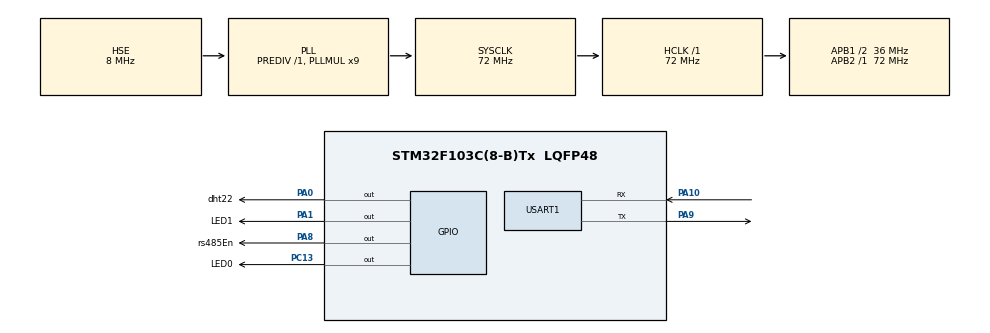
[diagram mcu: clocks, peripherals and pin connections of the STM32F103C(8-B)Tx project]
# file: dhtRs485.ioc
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Dma.Request0=USART1_RX
Dma.Request1=USART1_TX
Dma.USART1_RX.0.Direction=DMA_PERIPH_TO_MEMORY
Dma.USART1_RX.0.Instance=DMA1_Channel5
Dma.USART1_RX.0.MemDataAlignment=DMA_MDATAALIGN_BYTE
Dma.USART1_RX.0.MemInc=DMA_MINC_ENABLE
Dma.USART1_RX.0.Mode=DMA_CIRCULAR
Dma.USART1_RX.0.PeriphDataAlignment=DMA_PDATAALIGN_BYTE
Dma.USART1_RX.0.PeriphInc=DMA_PINC_DISABLE
Dma.USART1_RX.0.Priority=DMA_PRIORITY_HIGH
Dma.USART1_TX.1.Direction=DMA_MEMORY_TO_PERIPH
Dma.USART1_TX.1.Instance=DMA1_Channel4
Dma.USART1_TX.1.MemDataAlignment=DMA_MDATAALIGN_BYTE
Dma.USART1_TX.1.MemInc=DMA_MINC_ENABLE
Dma.USART1_TX.1.Mode=DMA_NORMAL
Dma.USART1_TX.1.PeriphDataAlignment=DMA_PDATAALIGN_BYTE
Dma.USART1_TX.1.PeriphInc=DMA_PINC_DISABLE
Dma.USART1_TX.1.Priority=DMA_PRIORITY_HIGH
IWDG.Prescaler=IWDG_PRESCALER_32
IWDG.Reload=2500
Mcu.Family=STM32F1
Mcu.Name=STM32F103C(8-B)Tx
Mcu.Package=LQFP48
NVIC.DMA1_Channel4_IRQn=true\:0\:0\:false\:false\:true\:false\:true\:true
NVIC.DMA1_Channel5_IRQn=true\:0\:0\:false\:false\:true\:false\:true\:true
NVIC.PriorityGroup=NVIC_PRIORITYGROUP_4
NVIC.TIM4_IRQn=true\:15\:0\:false\:false\:true\:false\:true\:true
NVIC.TimeBase=TIM4_IRQn
NVIC.TimeBaseIP=TIM4
NVIC.USART1_IRQn=true\:0\:0\:false\:false\:true\:true\:true\:true
PA0-WKUP.GPIO_Label=dht22
PA0-WKUP.Signal=GPIO_Output
PA1.GPIO_Label=LED1
PA1.GPIO_Speed=GPIO_SPEED_FREQ_HIGH
PA1.Signal=GPIO_Output
PA10.Mode=Asynchronous
PA10.Signal=USART1_RX
PA13.Mode=Serial_Wire
PA13.Signal=SYS_JTMS-SWDIO
PA14.Mode=Serial_Wire
PA14.Signal=SYS_JTCK-SWCLK
PA8.GPIO_Label=rs485En
PA8.GPIO_Speed=GPIO_SPEED_FREQ_HIGH
PA8.Signal=GPIO_Output
PA9.Mode=Asynchronous
PA9.Signal=USART1_TX
PC13-TAMPER-RTC.GPIO_Label=LED0
PC13-TAMPER-RTC.GPIO_Speed=GPIO_SPEED_FREQ_HIGH
PC13-TAMPER-RTC.Signal=GPIO_Output
PD0-OSC_IN.Mode=HSE-External-Oscillator
PD0-OSC_IN.Signal=RCC_OSC_IN
PD1-OSC_OUT.Mode=HSE-External-Oscillator
PD1-OSC_OUT.Signal=RCC_OSC_OUT
ProjectManager.HeapSize=0x500
ProjectManager.StackSize=0x500
ProjectManager.TargetToolchain=STM32CubeIDE
RCC.AHBFreq_Value=72000000
RCC.APB1CLKDivider=RCC_HCLK_DIV2
RCC.APB1Freq_Value=36000000
RCC.APB1TimFreq_Value=72000000
RCC.APB2Freq_Value=72000000
RCC.APB2TimFreq_Value=72000000
RCC.EnbaleCSS=true
RCC.HCLKFreq_Value=72000000
RCC.PLLMUL=RCC_PLL_MUL9
RCC.PLLSourceVirtual=RCC_PLLSOURCE_HSE
RCC.SYSCLKFreq_VALUE=72000000
RCC.SYSCLKSource=RCC_SYSCLKSOURCE_PLLCLK
RCC.USBFreq_Value=72000000
USART1.VirtualMode=VM_ASYNC
VP_IWDG_VS_IWDG.Mode=IWDG_Activate
VP_SYS_VS_tim4.Mode=TIM4
board=custom

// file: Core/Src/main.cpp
/* USER CODE BEGIN Header */
/**
  ******************************************************************************
  * @file           : main.c
  * @brief          : Main program body
  ******************************************************************************
  * @attention
  *
  * Copyright (c) 2026 STMicroelectronics.
  * All rights reserved.
  *
  * This software is licensed under terms that can be found in the LICENSE file
  * in the root directory of this software component.
  * If no LICENSE file comes with this software, it is provided AS-IS.
  *
  ******************************************************************************
  */
/* USER CODE END Header */
#include "main.h"

/* USER CODE BEGIN Includes */
#include <iostream>
#include "stm32f1xx_it.h"
#include "DHT22.hpp"
#include "jsonpacket.hpp"
/* USER CODE END Includes */

IWDG_HandleTypeDef hiwdg;

UART_HandleTypeDef huart1;
DMA_HandleTypeDef hdma_usart1_rx;
DMA_HandleTypeDef hdma_usart1_tx;

/* USER CODE BEGIN PV */
uint16_t lastPos = 0;
char uartBuffer[300];
uint32_t nextLedTime,readSensor;
HAL_StatusTypeDef uartErr;
DHT22 sensor(dht22_GPIO_Port,dht22_Pin);
Temp_Hum tempHum;
Packets packet;
extern volatile uint8_t rxLineBusy;
JsonDocument inputDoc;
JsonDocument outputDoc;
/* USER CODE END PV */

void SystemClock_Config(void);
static void MX_GPIO_Init(void);
static void MX_DMA_Init(void);
static void MX_IWDG_Init(void);
static void MX_USART1_UART_Init(void);
/* USER CODE BEGIN PFP */
void sendProcessControl(Packets *packet);
HAL_StatusTypeDef rs485OneSendData(uint8_t *_data, uint32_t _dataLen);
/* USER CODE END PFP */

/* USER CODE BEGIN 0 */
void HAL_UART_TxCpltCallback(UART_HandleTypeDef *huart)
{
	if(huart == &huart1)
	{
		while(__HAL_UART_GET_FLAG(&huart1, UART_FLAG_TC) == RESET);
		HAL_GPIO_WritePin(rs485En_GPIO_Port, rs485En_Pin, GPIO_PIN_RESET);
		packet.txPacketCompleted();
	}
}

void UartPacket_IdleCallback(UART_HandleTypeDef *huart)
{
	uint8_t *jsonBody = NULL,*payload = NULL;
	uint32_t jsonLen,payloadLen;
	packet.readRxPacket(huart, &jsonBody, &jsonLen, &payload, &payloadLen);
	HAL_GPIO_WritePin(LED1_GPIO_Port, LED1_Pin, GPIO_PIN_RESET);
	HAL_GPIO_TogglePin(LED0_GPIO_Port, LED0_Pin);

	if(jsonLen == 0)
	{
		return;
	}

	DeserializationError error = deserializeJson(inputDoc, jsonBody);

	if(!error)
	{
		if(inputDoc["type"].as<int>() == Request)
		{
			if(inputDoc["name"] != "MB")
			{
				return;
			}
			if(inputDoc["req"] == "Time")
			{
				outputDoc["type"] = Response;
				outputDoc["state"] = ok;
				outputDoc["name"] = "MB";
				outputDoc["Time"] = HAL_GetTick()/1000;
				packet.addTxPacket(Low, &outputDoc);
				return;
			}
			else if(inputDoc["req"] == "TH")
			{
				outputDoc["type"] = Response;
				outputDoc["state"] = ok;
				outputDoc["name"] = "MB";
				outputDoc["temp"] = tempHum.Temp;
				outputDoc["hum"] = tempHum.Hum;
				packet.addTxPacket(Medium, &outputDoc);
				return;
			}

			//uint8_t buffer[200];
			//uint16_t len = serializeJson(outputDoc, buffer);

			//rs485OneSendData(packet.readTxPacket()->txBuffer, packet.readTxPacket()->packetLen);
		}
	}
	else
	{
		outputDoc["type"] = Response;
		outputDoc["state"] = nok;
		outputDoc["name"] = "MB";
		outputDoc["temp"] = tempHum.Temp;
		outputDoc["hum"] = tempHum.Hum;
		packet.addTxPacket(Medium, &outputDoc);
	}

}
/* USER CODE END 0 */

int main(void)
{

  /* MCU Configuration--------------------------------------------------------*/

  /* Reset of all peripherals, Initializes the Flash interface and the Systick. */
  HAL_Init();

  /* Configure the system clock */
  SystemClock_Config();

  /* Initialize all configured peripherals */
  MX_GPIO_Init();
  MX_DMA_Init();
  //MX_IWDG_Init();
  MX_USART1_UART_Init();
  /* USER CODE BEGIN 2 */
//  __HAL_IWDG_START(&hiwdg);
//  HAL_IWDG_Refresh(&hiwdg);
  packet.setRxLoopState(true);
  HAL_UART_Receive_DMA(&huart1, packet.getrxBuffer(), packet.getrxBufferSize());
  __HAL_UART_ENABLE_IT(&huart1, UART_IT_IDLE);
  nextLedTime = HAL_GetTick() + 500;
  readSensor = HAL_GetTick() + 2000;
  rxLineBusy = 0;
  /* USER CODE END 2 */

  /* Infinite loop */
  /* USER CODE BEGIN WHILE */
  //std::string outputStr,who{"Ali Naseri"};
  //int age{36};
  //double pi{std::numbers::pi};
  //outputStr = std::format("Hello {}, your age is {:05}, pi number is : {: 05.5}",who,age,pi);
	outputDoc["type"] = Response;
	outputDoc["state"] = ok;
	outputDoc["name"] = "MB";
	packet.addTxPacket(Medium, &outputDoc);
	while (1)
	{
		sendProcessControl(&packet);

		if(HAL_GetTick() >= nextLedTime)
		{
			HAL_GPIO_TogglePin(LED0_GPIO_Port, LED0_Pin);
			nextLedTime = HAL_GetTick() + 500;
		}

		if(HAL_GetTick() >= readSensor)
		{
			sensor.StartRead();
			readSensor = HAL_GetTick() + 2000;
			outputDoc.clear();
			outputDoc["type"] = Response;
			outputDoc["state"] = ok;
			outputDoc["name"] = "MB";
			outputDoc["nextRead"] = readSensor;
			packet.addTxPacket(Medium, &outputDoc);
			readSensor = HAL_GetTick() + 2000;
		}

		sensor.Process();
		if(sensor.HasNewData())
		{
			tempHum = sensor.GetData();
			sensor.ClearNewData();
			outputDoc.clear();
			outputDoc["type"] = Response;
			outputDoc["state"] = ok;
			outputDoc["name"] = "MB";
			outputDoc["temp"] = tempHum.Temp;
			outputDoc["hum"] = tempHum.Hum;
			packet.addTxPacket(Medium, &outputDoc);
		}
		/* USER CODE END WHILE */

	}
}

void SystemClock_Config(void)
{
  RCC_OscInitTypeDef RCC_OscInitStruct = {0};
  RCC_ClkInitTypeDef RCC_ClkInitStruct = {0};

  /** Initializes the RCC Oscillators according to the specified parameters
  * in the RCC_OscInitTypeDef structure.
  */
  RCC_OscInitStruct.OscillatorType = RCC_OSCILLATORTYPE_LSI|RCC_OSCILLATORTYPE_HSE;
  RCC_OscInitStruct.HSEState = RCC_HSE_ON;
  RCC_OscInitStruct.HSEPredivValue = RCC_HSE_PREDIV_DIV1;
  RCC_OscInitStruct.HSIState = RCC_HSI_ON;
  RCC_OscInitStruct.LSIState = RCC_LSI_ON;
  RCC_OscInitStruct.PLL.PLLState = RCC_PLL_ON;
  RCC_OscInitStruct.PLL.PLLSource = RCC_PLLSOURCE_HSE;
  RCC_OscInitStruct.PLL.PLLMUL = RCC_PLL_MUL9;
  if (HAL_RCC_OscConfig(&RCC_OscInitStruct) != HAL_OK)
  {
    Error_Handler();
  }

  /** Initializes the CPU, AHB and APB buses clocks
  */
  RCC_ClkInitStruct.ClockType = RCC_CLOCKTYPE_HCLK|RCC_CLOCKTYPE_SYSCLK
                              |RCC_CLOCKTYPE_PCLK1|RCC_CLOCKTYPE_PCLK2;
  RCC_ClkInitStruct.SYSCLKSource = RCC_SYSCLKSOURCE_PLLCLK;
  RCC_ClkInitStruct.AHBCLKDivider = RCC_SYSCLK_DIV1;
  RCC_ClkInitStruct.APB1CLKDivider = RCC_HCLK_DIV2;
  RCC_ClkInitStruct.APB2CLKDivider = RCC_HCLK_DIV1;

  if (HAL_RCC_ClockConfig(&RCC_ClkInitStruct, FLASH_LATENCY_2) != HAL_OK)
  {
    Error_Handler();
  }

  /** Enables the Clock Security System
  */
  HAL_RCC_EnableCSS();
}

static void MX_IWDG_Init(void)
{

  hiwdg.Instance = IWDG;
  hiwdg.Init.Prescaler = IWDG_PRESCALER_32;
  hiwdg.Init.Reload = 2500;
  if (HAL_IWDG_Init(&hiwdg) != HAL_OK)
  {
    Error_Handler();
  }

}

static void MX_USART1_UART_Init(void)
{

  huart1.Instance = USART1;
  huart1.Init.BaudRate = 115200;
  huart1.Init.WordLength = UART_WORDLENGTH_8B;
  huart1.Init.StopBits = UART_STOPBITS_1;
  huart1.Init.Parity = UART_PARITY_NONE;
  huart1.Init.Mode = UART_MODE_TX_RX;
  huart1.Init.HwFlowCtl = UART_HWCONTROL_NONE;
  huart1.Init.OverSampling = UART_OVERSAMPLING_16;
  if (HAL_UART_Init(&huart1) != HAL_OK)
  {
    Error_Handler();
  }

}

static void MX_DMA_Init(void)
{

  /* DMA controller clock enable */
  __HAL_RCC_DMA1_CLK_ENABLE();

  /* DMA interrupt init */
  /* DMA1_Channel4_IRQn interrupt configuration */
  HAL_NVIC_SetPriority(DMA1_Channel4_IRQn, 0, 0);
  HAL_NVIC_EnableIRQ(DMA1_Channel4_IRQn);
  /* DMA1_Channel5_IRQn interrupt configuration */
  HAL_NVIC_SetPriority(DMA1_Channel5_IRQn, 0, 0);
  HAL_NVIC_EnableIRQ(DMA1_Channel5_IRQn);

}

static void MX_GPIO_Init(void)
{
  GPIO_InitTypeDef GPIO_InitStruct = {0};

  /* GPIO Ports Clock Enable */
  __HAL_RCC_GPIOC_CLK_ENABLE();
  __HAL_RCC_GPIOD_CLK_ENABLE();
  __HAL_RCC_GPIOA_CLK_ENABLE();

  /*Configure GPIO pin Output Level */
  HAL_GPIO_WritePin(LED0_GPIO_Port, LED0_Pin, GPIO_PIN_RESET);

  /*Configure GPIO pin Output Level */
  HAL_GPIO_WritePin(GPIOA, dht22_Pin|LED1_Pin|rs485En_Pin, GPIO_PIN_RESET);

  /*Configure GPIO pin : LED0_Pin */
  GPIO_InitStruct.Pin = LED0_Pin;
  GPIO_InitStruct.Mode = GPIO_MODE_OUTPUT_PP;
  GPIO_InitStruct.Pull = GPIO_NOPULL;
  GPIO_InitStruct.Speed = GPIO_SPEED_FREQ_HIGH;
  HAL_GPIO_Init(LED0_GPIO_Port, &GPIO_InitStruct);

  /*Configure GPIO pin : dht22_Pin */
  GPIO_InitStruct.Pin = dht22_Pin;
  GPIO_InitStruct.Mode = GPIO_MODE_OUTPUT_PP;
  GPIO_InitStruct.Pull = GPIO_NOPULL;
  GPIO_InitStruct.Speed = GPIO_SPEED_FREQ_LOW;
  HAL_GPIO_Init(dht22_GPIO_Port, &GPIO_InitStruct);

  /*Configure GPIO pins : LED1_Pin rs485En_Pin */
  GPIO_InitStruct.Pin = LED1_Pin|rs485En_Pin;
  GPIO_InitStruct.Mode = GPIO_MODE_OUTPUT_PP;
  GPIO_InitStruct.Pull = GPIO_NOPULL;
  GPIO_InitStruct.Speed = GPIO_SPEED_FREQ_HIGH;
  HAL_GPIO_Init(GPIOA, &GPIO_InitStruct);

}

/* USER CODE BEGIN 4 */
void sendProcessControl(Packets *packet)
{
	TXPacket *currentPacket = packet->readTxPacket();
	if(currentPacket != NULL)
	{
		if(HAL_GetTick() <= currentPacket->timeToSendus || currentPacket->state != WaitToSend)
		{
			return;
		}
		if((HAL_GPIO_ReadPin(rs485En_GPIO_Port, rs485En_Pin) == GPIO_PIN_RESET) && rxLineBusy == 0)//
		{
			currentPacket->state = WaitToSent;
			if(rs485OneSendData(currentPacket->txBuffer, currentPacket->packetLen) != HAL_OK)
			{
				currentPacket->state = WaitToSend;
				packet->packetResetTimer(currentPacket);
			}
		}
		else
		{
			packet->packetResetTimer(currentPacket);
		}
	}
}

HAL_StatusTypeDef rs485OneSendData(uint8_t *_data, uint32_t _dataLen)
{
	if(_data == NULL || _dataLen == 0)
	{
		return HAL_ERROR;
	}
	HAL_GPIO_WritePin(rs485En_GPIO_Port, rs485En_Pin, GPIO_PIN_SET);
	HAL_GPIO_WritePin(LED1_GPIO_Port, LED1_Pin, GPIO_PIN_SET);
	return HAL_UART_Transmit_DMA(&huart1,_data,_dataLen);
}

/* USER CODE END 4 */

void HAL_TIM_PeriodElapsedCallback(TIM_HandleTypeDef *htim)
{
  if (htim->Instance == TIM4)
  {
    HAL_IncTick();
  }
  /* USER CODE BEGIN Callback 1 */
  if (htim->Instance == TIM4)
  {

  }
  /* USER CODE END Callback 1 */
}

void Error_Handler(void)
{
  __disable_irq();
  while (1)
  {
  }
}
